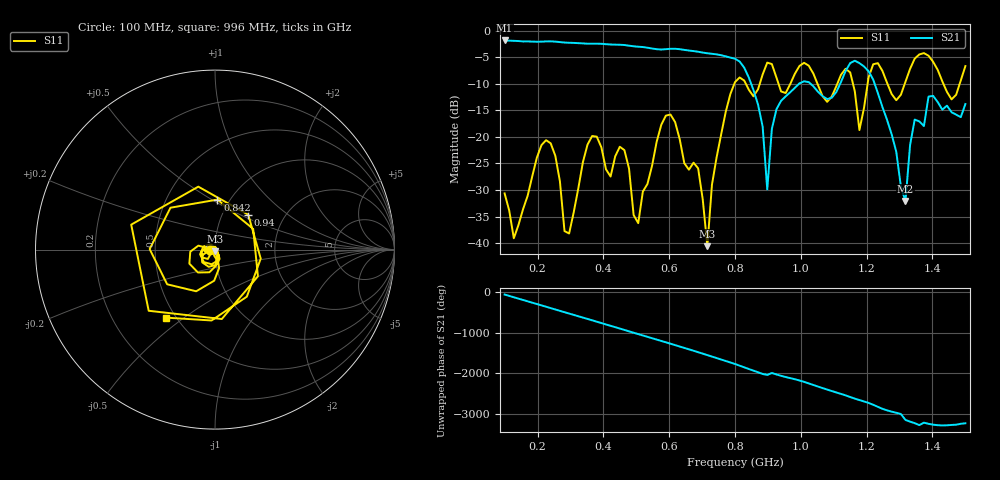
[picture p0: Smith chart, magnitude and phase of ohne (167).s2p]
! NanoVNA-App
! Date: 2025-09-25 14:22:06
! Start: 100MHz Stop: 1,5GHz Points: 101
! S-Parameter data: F S11 S21 S12 S22
# Hz S RI R 50
!  Frequency  S11_Real  S11_Imag  S21_Real  S21_Imag  S12_Real  S12_Imag  S22_Real  S22_Imag
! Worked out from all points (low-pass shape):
!   101 points, 100 MHz to 1.5 GHz, reference 50 ohm
!   highest |S21| = -1.79 dB at 100 MHz (marker M1); lowest = -32.1 dB at 1.318 GHz (marker M2)
!   |S21| within 3 dB of the highest: start of sweep to 772 MHz
!   lowest |S11| = -40.6 dB at 716 MHz (marker M3), VSWR 1.02, Z = 49.9 - j0.922 ohm
!   |S11| at or under -10 dB: start of sweep to 797.8 MHz; 833.2 MHz to 875 MHz (41.83 MHz wide, 4.9 % of centre); 1.051 GHz to 1.111 GHz (59.84 MHz wide, 5.54 % of centre) (the widest 3 of 7)
!   S12 and S22 are empty: the file has one direction only
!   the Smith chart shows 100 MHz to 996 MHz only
!   S11 on the Smith chart (normalised r, x): 100 MHz: 0.94, -0.01; 842 MHz: 0.88, +0.53; 940 MHz: 1.32, +0.55; 996 MHz: 0.44, -0.43
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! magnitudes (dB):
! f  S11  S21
! 100 MHz  -30.6  -1.8
! 128 MHz  -39.1  -1.9
! 226 MHz  -20.6  -2.0
! 296 MHz  -38.2  -2.2
! 338 MHz  -24.7  -2.4
! 464 MHz  -22.5  -2.7
! 506 MHz  -36.3  -3.0
! 576 MHz  -17.7  -3.5
! 688 MHz  -25.9  -3.9
! 716 MHz  -40.6  -4.2
! 800 MHz  -9.7  -5.2
! 842 MHz  -11.1  -8.8
! 898 MHz  -6.0  -29.9
! 940 MHz  -11.4  -13.2
! 996 MHz  -6.6  -9.9
! 1.038 GHz  -8.0  -10.4
! 1.178 GHz  -18.7  -6.1
! 1.22 GHz  -6.3  -9.2
! 1.276 GHz  -11.9  -19.5
! 1.318 GHz  -9.6  -32.1
! 1.388 GHz  -4.7  -12.4
! 1.5 GHz  -6.6  -13.8
